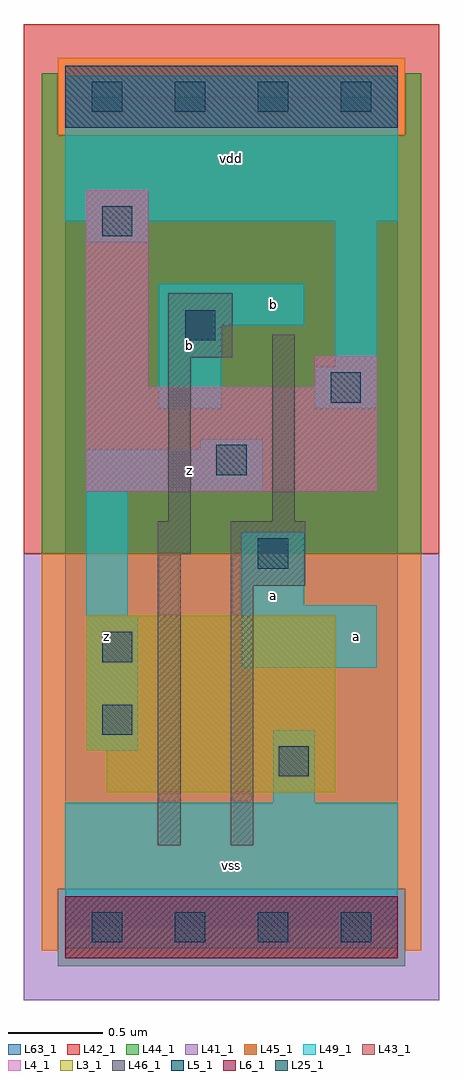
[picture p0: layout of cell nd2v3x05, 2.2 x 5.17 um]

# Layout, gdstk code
import gdstk
lib = gdstk.Library(unit=1e-6, precision=1e-09)
def R(c, l, rs):  # rectangles x0, y0, x1, y1
    for r in rs: c.add(gdstk.rectangle(r[:2], r[2:], *l))
def A(c, l, x, y, w, h, nx, ny, dx, dy):  # array of equal rectangles
    R(c, l, [(x+i*dx, y+j*dy, x+i*dx+w, y+j*dy+h) for i in range(nx) for j in range(ny)])
L3_1 = (3, 1)
L4_1 = (4, 1)
L5_1 = (5, 1)
L6_1 = (6, 1)
L25_1 = (25, 1)
L41_1 = (41, 1)
L42_1 = (42, 1)
L43_1 = (43, 1)
L44_1 = (44, 1)
L45_1 = (45, 1)
L46_1 = (46, 1)
L49_1 = (49, 1)
L63_1 = (63, 1)

nd2v3x05 = lib.new_cell('nd2v3x05')
R(nd2v3x05, L3_1, [(0.22,0.715,1.43,0.935), (0.11,0.935,1.43,1.65)])
R(nd2v3x05, L4_1, [(0.11,2.31,1.65,2.86), (0.11,2.86,0.44,3.905), (1.32,2.86,1.65,3.025)])
R(nd2v3x05, L5_1, [(0,4.235,1.76,4.565)])
R(nd2v3x05, L6_1, [(0,-0.165,1.76,0.165)])
A(nd2v3x05, L25_1, 0.14, -0.08, 0.16, 0.16, 4, 2, 0.44, 4.4)
R(nd2v3x05, L25_1, [(1.13,0.8,1.29,0.96), (0.195,1.02,0.355,1.18), (0.195,1.405,0.355,1.565), (1.02,1.9,1.18,2.06), (0.8,2.395,0.96,2.555), (1.405,2.78,1.565,2.94), (0.635,3.11,0.795,3.27), (0.195,3.66,0.355,3.82)])
R(nd2v3x05, L41_1, [(-0.22,-0.385,1.98,1.98)])
R(nd2v3x05, L42_1, [(-0.22,1.98,1.98,4.785)])
R(nd2v3x05, L43_1, [(0,-0.165,1.76,0.165), (0.22,0.715,1.43,0.935), (0.11,0.935,1.43,1.65), (0.11,2.31,1.65,2.86), (0.11,2.86,0.44,3.905), (1.32,2.86,1.65,3.025), (0,4.235,1.76,4.565)])
R(nd2v3x05, L44_1, [(-0.04,-0.205,1.8,0.205), (-0.125,1.98,1.885,4.195), (-0.125,4.195,-0.04,4.525), (1.8,4.195,1.885,4.525)])
R(nd2v3x05, L45_1, [(-0.125,-0.125,-0.04,0.205), (1.8,-0.125,1.885,0.205), (-0.125,0.205,1.885,1.98), (-0.04,4.195,1.8,4.605)])
R(nd2v3x05, L46_1, [(0.49,0.435,0.61,1.975), (0.875,0.435,0.995,1.81), (0.875,1.81,1.27,2.15), (0.49,1.975,0.665,2.15), (0.545,2.15,0.665,3.02), (1.095,2.15,1.215,3.14), (0.545,3.02,0.885,3.36)])
R(nd2v3x05, L49_1, [(0,-0.11,1.76,0.66), (1.1,0.66,1.32,1.045), (0.11,0.935,0.385,1.65), (0.935,1.375,1.65,1.705), (0.11,1.65,0.33,2.31), (0.935,1.705,1.265,2.09), (0.11,2.31,1.045,2.53), (0.715,2.53,1.045,2.585), (0.495,2.75,0.825,3.19), (1.32,2.75,1.65,2.97), (1.43,2.97,1.65,3.74), (0.495,3.19,1.265,3.41), (0.11,3.63,0.44,3.74), (0,3.74,1.76,4.51)])
R(nd2v3x05, L63_1, [(0,0,1.76,4.4)])
nd2v3x05.add(gdstk.Label('z', (0.22,1.54), layer=49, texttype=1))
nd2v3x05.add(gdstk.Label('z', (0.66,2.42), layer=49, texttype=1))
nd2v3x05.add(gdstk.Label('b', (0.66,3.08), layer=49, texttype=1))
nd2v3x05.add(gdstk.Label('vss', (0.88,0.33), layer=49, texttype=1))
nd2v3x05.add(gdstk.Label('a', (1.1,1.76), layer=49, texttype=1))
nd2v3x05.add(gdstk.Label('b', (1.1,3.3), layer=49, texttype=1))
nd2v3x05.add(gdstk.Label('vdd', (0.88,4.07), layer=49, texttype=1))
nd2v3x05.add(gdstk.Label('a', (1.54,1.54), layer=49, texttype=1))

lib.write_gds('nd2v3x05.gds')
